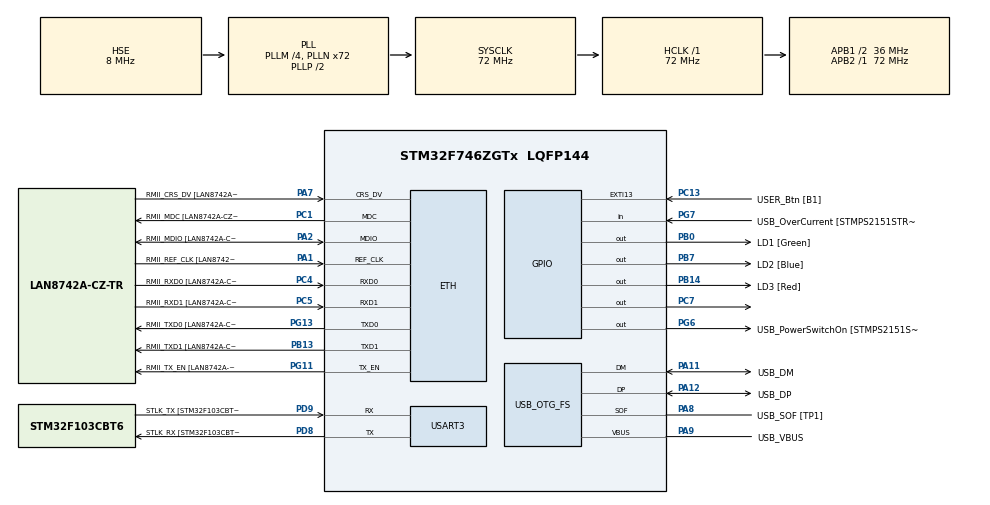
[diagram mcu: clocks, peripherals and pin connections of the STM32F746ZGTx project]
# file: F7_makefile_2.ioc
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ETH.MediaInterface=HAL_ETH_RMII_MODE
ETH.PHY_Name=LAN8742A_PHY_ADDRESS
ETH.PHY_Value=0
ETH.PhyAddress=0
Mcu.Family=STM32F7
Mcu.Name=STM32F746ZGTx
Mcu.Package=LQFP144
NVIC.PriorityGroup=NVIC_PRIORITYGROUP_4
NVIC.TIM2_IRQn=true\:0\:0\:false\:false\:true\:true\:true\:true
PA1.GPIO_Label=RMII_REF_CLK [LAN8742A-CZ-TR_REFCLK0]
PA1.Mode=RMII
PA1.Signal=ETH_REF_CLK
PA10.GPIO_Label=USB_ID
PA10.Signal=USB_OTG_FS_ID
PA11.GPIO_Label=USB_DM
PA11.Mode=Device_Only
PA11.Signal=USB_OTG_FS_DM
PA12.GPIO_Label=USB_DP
PA12.Mode=Device_Only
PA12.Signal=USB_OTG_FS_DP
PA13.GPIO_Label=TMS
PA13.Mode=Serial_Wire
PA13.Signal=SYS_JTMS-SWDIO
PA14.GPIO_Label=TCK
PA14.Mode=Serial_Wire
PA14.Signal=SYS_JTCK-SWCLK
PA2.GPIO_Label=RMII_MDIO [LAN8742A-CZ-TR_MDIO]
PA2.Mode=RMII
PA2.Signal=ETH_MDIO
PA7.GPIO_Label=RMII_CRS_DV [LAN8742A-CZ-TR_CRS_DV]
PA7.Mode=RMII
PA7.Signal=ETH_CRS_DV
PA8.GPIO_Label=USB_SOF [TP1]
PA8.Mode=Activate_SOF_FS
PA8.Signal=USB_OTG_FS_SOF
PA9.GPIO_Label=USB_VBUS
PA9.Mode=Activate_VBUS
PA9.Signal=USB_OTG_FS_VBUS
PB0.GPIO_Label=LD1 [Green]
PB0.Signal=GPIO_Output
PB13.GPIO_Label=RMII_TXD1 [LAN8742A-CZ-TR_TXD1]
PB13.Mode=RMII
PB13.Signal=ETH_TXD1
PB14.GPIO_Label=LD3 [Red]
PB14.Signal=GPIO_Output
PB3.GPIO_Label=SW0
PB3.Signal=SYS_JTDO-SWO
PB7.GPIO_Label=LD2 [Blue]
PB7.Signal=GPIO_Output
PC1.GPIO_Label=RMII_MDC [LAN8742A-CZ-TR_MDC]
PC1.Mode=RMII
PC1.Signal=ETH_MDC
PC13.GPIO_Label=USER_Btn [B1]
PC13.Signal=GPXTI13
PC14/OSC32_IN.Mode=LSE-External-Oscillator
PC14/OSC32_IN.Signal=RCC_OSC32_IN
PC15/OSC32_OUT.Mode=LSE-External-Oscillator
PC15/OSC32_OUT.Signal=RCC_OSC32_OUT
PC4.GPIO_Label=RMII_RXD0 [LAN8742A-CZ-TR_RXD0]
PC4.Mode=RMII
PC4.Signal=ETH_RXD0
PC5.GPIO_Label=RMII_RXD1 [LAN8742A-CZ-TR_RXD1]
PC5.Mode=RMII
PC5.Signal=ETH_RXD1
PC7.Signal=GPIO_Output
PD8.GPIO_Label=STLK_RX [STM32F103CBT6_PA3]
PD8.GPIO_PuPd=GPIO_PULLUP
PD8.Mode=Asynchronous
PD8.Signal=USART3_TX
PD9.GPIO_Label=STLK_TX [STM32F103CBT6_PA2]
PD9.GPIO_PuPd=GPIO_PULLUP
PD9.Mode=Asynchronous
PD9.Signal=USART3_RX
PG11.GPIO_Label=RMII_TX_EN [LAN8742A-CZ-TR_TXEN]
PG11.Mode=RMII
PG11.Signal=ETH_TX_EN
PG13.GPIO_Label=RMII_TXD0 [LAN8742A-CZ-TR_TXD0]
PG13.Mode=RMII
PG13.Signal=ETH_TXD0
PG6.GPIO_Label=USB_PowerSwitchOn [STMPS2151STR_EN]
PG6.Signal=GPIO_Output
PG7.GPIO_Label=USB_OverCurrent [STMPS2151STR_FAULT]
PG7.Signal=GPIO_Input
PH0/OSC_IN.GPIO_Label=MCO [STM32F103CBT6_PA8]
PH0/OSC_IN.Mode=HSE-External-Clock-Source
PH0/OSC_IN.Signal=RCC_OSC_IN
PH1/OSC_OUT.Mode=HSE-External-Clock-Source
PH1/OSC_OUT.Signal=RCC_OSC_OUT
ProjectManager.HeapSize=0x200
ProjectManager.StackSize=0x400
ProjectManager.TargetToolchain=Makefile
RCC.48MHZClocksFreq_Value=24000000
RCC.AHBFreq_Value=72000000
RCC.APB1CLKDivider=RCC_HCLK_DIV2
RCC.APB1Freq_Value=36000000
RCC.APB1TimFreq_Value=72000000
RCC.APB2Freq_Value=72000000
RCC.APB2TimFreq_Value=72000000
RCC.CortexFreq_Value=72000000
RCC.HCLKFreq_Value=72000000
RCC.HSE_VALUE=8000000
RCC.HSI_VALUE=16000000
RCC.PLLM=4
RCC.PLLMUL=RCC_PLL_MUL9
RCC.PLLN=72
RCC.PLLQ=3
RCC.PRESCALERUSB=RCC_USBCLKSOURCE_PLL_DIV1_5
RCC.SYSCLKFreq_VALUE=72000000
RCC.SYSCLKSource=RCC_SYSCLKSOURCE_PLLCLK
RCC.SYSCLKSourceVirtual=RCC_SYSCLKSOURCE_PLLCLK
RCC.USBFreq_Value=48000000
RCC.VCOOutputFreq_Value=144000000
TIM2.Period=1000
TIM2.Prescaler=16000
USART3.VirtualMode-Asynchronous=VM_ASYNC
USB_OTG_FS.VirtualMode=Device_Only
VP_TIM2_VS_ClockSourceINT.Mode=Internal
board=NUCLEO-F746ZG

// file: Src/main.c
/* USER CODE BEGIN Header */
/**
  ******************************************************************************
  * @file           : main.c
  * @brief          : Main program body
  ******************************************************************************
  * @attention
  *
  * Copyright (c) 2024 STMicroelectronics.
  * All rights reserved.
  *
  * This software is licensed under terms that can be found in the LICENSE file
  * in the root directory of this software component.
  * If no LICENSE file comes with this software, it is provided AS-IS.
  *
  ******************************************************************************
  */
/* USER CODE END Header */
#include "main.h"
#include "string.h"

/* USER CODE BEGIN Includes */

#include <stdio.h>
#include <stdint.h>

#include "dnn/include/forward.hpp"

/* USER CODE END Includes */

#if defined ( __ICCARM__ ) /*!< IAR Compiler */
#pragma location=0x2004c000
ETH_DMADescTypeDef  DMARxDscrTab[ETH_RX_DESC_CNT]; /* Ethernet Rx DMA Descriptors */
#pragma location=0x2004c0a0
ETH_DMADescTypeDef  DMATxDscrTab[ETH_TX_DESC_CNT]; /* Ethernet Tx DMA Descriptors */

#elif defined ( __CC_ARM )  /* MDK ARM Compiler */

__attribute__((at(0x2004c000))) ETH_DMADescTypeDef  DMARxDscrTab[ETH_RX_DESC_CNT]; /* Ethernet Rx DMA Descriptors */
__attribute__((at(0x2004c0a0))) ETH_DMADescTypeDef  DMATxDscrTab[ETH_TX_DESC_CNT]; /* Ethernet Tx DMA Descriptors */

#elif defined ( __GNUC__ ) /* GNU Compiler */

ETH_DMADescTypeDef DMARxDscrTab[ETH_RX_DESC_CNT] __attribute__((section(".RxDecripSection"))); /* Ethernet Rx DMA Descriptors */
ETH_DMADescTypeDef DMATxDscrTab[ETH_TX_DESC_CNT] __attribute__((section(".TxDecripSection")));   /* Ethernet Tx DMA Descriptors */
#endif

ETH_TxPacketConfig TxConfig;

ETH_HandleTypeDef heth;

TIM_HandleTypeDef htim2;

UART_HandleTypeDef huart3;

PCD_HandleTypeDef hpcd_USB_OTG_FS;

void SystemClock_Config(void);
static void MX_GPIO_Init(void);
static void MX_ETH_Init(void);
static void MX_TIM2_Init(void);
static void MX_USART3_UART_Init(void);
static void MX_USB_OTG_FS_PCD_Init(void);

/* USER CODE BEGIN 0 */

int _write(int file, char *data, int len)
{
   HAL_StatusTypeDef status = HAL_UART_Transmit(&huart3, (uint8_t*) data, len, 1000);

   return (status == HAL_OK ? len : 0);
}

/* USER CODE END 0 */

int main(void)
{

  /* MCU Configuration--------------------------------------------------------*/

  /* Reset of all peripherals, Initializes the Flash interface and the Systick. */
  HAL_Init();

  /* Configure the system clock */
  SystemClock_Config();

  /* Initialize all configured peripherals */
  MX_GPIO_Init();
  MX_ETH_Init();
  MX_TIM2_Init();
  MX_USART3_UART_Init();
  MX_USB_OTG_FS_PCD_Init();
  /* USER CODE BEGIN 2 */

  printf("\r\n");
  printf("*****************************************************\r\n");
  printf("****************** DEMO EXPORT CPP ******************\r\n");
  printf("*****************************************************\r\n");
  printf("\r\n");

  printf("\r\n");
  printf("*****************************************************\r\n");
  printf("********************** END DEMO *********************\r\n");
  printf("*****************************************************\r\n");
  printf("\r\n");

  /* USER CODE END 2 */

  /* Infinite loop */
  while (1)
  {

  }
}

void SystemClock_Config(void)
{
  RCC_OscInitTypeDef RCC_OscInitStruct = {0};
  RCC_ClkInitTypeDef RCC_ClkInitStruct = {0};

  /** Configure LSE Drive Capability
  */
  HAL_PWR_EnableBkUpAccess();

  /** Configure the main internal regulator output voltage
  */
  __HAL_RCC_PWR_CLK_ENABLE();
  __HAL_PWR_VOLTAGESCALING_CONFIG(PWR_REGULATOR_VOLTAGE_SCALE3);

  /** Initializes the RCC Oscillators according to the specified parameters
  * in the RCC_OscInitTypeDef structure.
  */
  RCC_OscInitStruct.OscillatorType = RCC_OSCILLATORTYPE_HSE;
  RCC_OscInitStruct.HSEState = RCC_HSE_BYPASS;
  RCC_OscInitStruct.PLL.PLLState = RCC_PLL_ON;
  RCC_OscInitStruct.PLL.PLLSource = RCC_PLLSOURCE_HSE;
  RCC_OscInitStruct.PLL.PLLM = 4;
  RCC_OscInitStruct.PLL.PLLN = 72;
  RCC_OscInitStruct.PLL.PLLP = RCC_PLLP_DIV2;
  RCC_OscInitStruct.PLL.PLLQ = 3;
  if (HAL_RCC_OscConfig(&RCC_OscInitStruct) != HAL_OK)
  {
    Error_Handler();
  }

  /** Initializes the CPU, AHB and APB buses clocks
  */
  RCC_ClkInitStruct.ClockType = RCC_CLOCKTYPE_HCLK|RCC_CLOCKTYPE_SYSCLK
                              |RCC_CLOCKTYPE_PCLK1|RCC_CLOCKTYPE_PCLK2;
  RCC_ClkInitStruct.SYSCLKSource = RCC_SYSCLKSOURCE_PLLCLK;
  RCC_ClkInitStruct.AHBCLKDivider = RCC_SYSCLK_DIV1;
  RCC_ClkInitStruct.APB1CLKDivider = RCC_HCLK_DIV2;
  RCC_ClkInitStruct.APB2CLKDivider = RCC_HCLK_DIV1;

  if (HAL_RCC_ClockConfig(&RCC_ClkInitStruct, FLASH_LATENCY_2) != HAL_OK)
  {
    Error_Handler();
  }
}

static void MX_ETH_Init(void)
{

   static uint8_t MACAddr[6];

  heth.Instance = ETH;
  MACAddr[0] = 0x00;
  MACAddr[1] = 0x80;
  MACAddr[2] = 0xE1;
  MACAddr[3] = 0x00;
  MACAddr[4] = 0x00;
  MACAddr[5] = 0x00;
  heth.Init.MACAddr = &MACAddr[0];
  heth.Init.MediaInterface = HAL_ETH_RMII_MODE;
  heth.Init.TxDesc = DMATxDscrTab;
  heth.Init.RxDesc = DMARxDscrTab;
  heth.Init.RxBuffLen = 1524;

  if (HAL_ETH_Init(&heth) != HAL_OK)
  {
    Error_Handler();
  }

  memset(&TxConfig, 0 , sizeof(ETH_TxPacketConfig));
  TxConfig.Attributes = ETH_TX_PACKETS_FEATURES_CSUM | ETH_TX_PACKETS_FEATURES_CRCPAD;
  TxConfig.ChecksumCtrl = ETH_CHECKSUM_IPHDR_PAYLOAD_INSERT_PHDR_CALC;
  TxConfig.CRCPadCtrl = ETH_CRC_PAD_INSERT;

}

static void MX_TIM2_Init(void)
{

  TIM_ClockConfigTypeDef sClockSourceConfig = {0};
  TIM_MasterConfigTypeDef sMasterConfig = {0};

  htim2.Instance = TIM2;
  htim2.Init.Prescaler = 16000;
  htim2.Init.CounterMode = TIM_COUNTERMODE_UP;
  htim2.Init.Period = 1000;
  htim2.Init.ClockDivision = TIM_CLOCKDIVISION_DIV1;
  htim2.Init.AutoReloadPreload = TIM_AUTORELOAD_PRELOAD_DISABLE;
  if (HAL_TIM_Base_Init(&htim2) != HAL_OK)
  {
    Error_Handler();
  }
  sClockSourceConfig.ClockSource = TIM_CLOCKSOURCE_INTERNAL;
  if (HAL_TIM_ConfigClockSource(&htim2, &sClockSourceConfig) != HAL_OK)
  {
    Error_Handler();
  }
  sMasterConfig.MasterOutputTrigger = TIM_TRGO_RESET;
  sMasterConfig.MasterSlaveMode = TIM_MASTERSLAVEMODE_DISABLE;
  if (HAL_TIMEx_MasterConfigSynchronization(&htim2, &sMasterConfig) != HAL_OK)
  {
    Error_Handler();
  }

}

static void MX_USART3_UART_Init(void)
{

  huart3.Instance = USART3;
  huart3.Init.BaudRate = 115200;
  huart3.Init.WordLength = UART_WORDLENGTH_8B;
  huart3.Init.StopBits = UART_STOPBITS_1;
  huart3.Init.Parity = UART_PARITY_NONE;
  huart3.Init.Mode = UART_MODE_TX_RX;
  huart3.Init.HwFlowCtl = UART_HWCONTROL_NONE;
  huart3.Init.OverSampling = UART_OVERSAMPLING_16;
  huart3.Init.OneBitSampling = UART_ONE_BIT_SAMPLE_DISABLE;
  huart3.AdvancedInit.AdvFeatureInit = UART_ADVFEATURE_NO_INIT;
  if (HAL_UART_Init(&huart3) != HAL_OK)
  {
    Error_Handler();
  }

}

static void MX_USB_OTG_FS_PCD_Init(void)
{

  hpcd_USB_OTG_FS.Instance = USB_OTG_FS;
  hpcd_USB_OTG_FS.Init.dev_endpoints = 6;
  hpcd_USB_OTG_FS.Init.speed = PCD_SPEED_FULL;
  hpcd_USB_OTG_FS.Init.dma_enable = DISABLE;
  hpcd_USB_OTG_FS.Init.phy_itface = PCD_PHY_EMBEDDED;
  hpcd_USB_OTG_FS.Init.Sof_enable = ENABLE;
  hpcd_USB_OTG_FS.Init.low_power_enable = DISABLE;
  hpcd_USB_OTG_FS.Init.lpm_enable = DISABLE;
  hpcd_USB_OTG_FS.Init.vbus_sensing_enable = ENABLE;
  hpcd_USB_OTG_FS.Init.use_dedicated_ep1 = DISABLE;
  if (HAL_PCD_Init(&hpcd_USB_OTG_FS) != HAL_OK)
  {
    Error_Handler();
  }

}

static void MX_GPIO_Init(void)
{
  GPIO_InitTypeDef GPIO_InitStruct = {0};

  /* GPIO Ports Clock Enable */
  __HAL_RCC_GPIOC_CLK_ENABLE();
  __HAL_RCC_GPIOH_CLK_ENABLE();
  __HAL_RCC_GPIOA_CLK_ENABLE();
  __HAL_RCC_GPIOB_CLK_ENABLE();
  __HAL_RCC_GPIOD_CLK_ENABLE();
  __HAL_RCC_GPIOG_CLK_ENABLE();

  /*Configure GPIO pin Output Level */
  HAL_GPIO_WritePin(GPIOB, LD1_Pin|LD3_Pin|LD2_Pin, GPIO_PIN_RESET);

  /*Configure GPIO pin Output Level */
  HAL_GPIO_WritePin(USB_PowerSwitchOn_GPIO_Port, USB_PowerSwitchOn_Pin, GPIO_PIN_RESET);

  /*Configure GPIO pin Output Level */
  HAL_GPIO_WritePin(GPIOC, GPIO_PIN_7, GPIO_PIN_RESET);

  /*Configure GPIO pin : USER_Btn_Pin */
  GPIO_InitStruct.Pin = USER_Btn_Pin;
  GPIO_InitStruct.Mode = GPIO_MODE_IT_RISING;
  GPIO_InitStruct.Pull = GPIO_NOPULL;
  HAL_GPIO_Init(USER_Btn_GPIO_Port, &GPIO_InitStruct);

  /*Configure GPIO pins : LD1_Pin LD3_Pin LD2_Pin */
  GPIO_InitStruct.Pin = LD1_Pin|LD3_Pin|LD2_Pin;
  GPIO_InitStruct.Mode = GPIO_MODE_OUTPUT_PP;
  GPIO_InitStruct.Pull = GPIO_NOPULL;
  GPIO_InitStruct.Speed = GPIO_SPEED_FREQ_LOW;
  HAL_GPIO_Init(GPIOB, &GPIO_InitStruct);

  /*Configure GPIO pin : USB_PowerSwitchOn_Pin */
  GPIO_InitStruct.Pin = USB_PowerSwitchOn_Pin;
  GPIO_InitStruct.Mode = GPIO_MODE_OUTPUT_PP;
  GPIO_InitStruct.Pull = GPIO_NOPULL;
  GPIO_InitStruct.Speed = GPIO_SPEED_FREQ_LOW;
  HAL_GPIO_Init(USB_PowerSwitchOn_GPIO_Port, &GPIO_InitStruct);

  /*Configure GPIO pin : USB_OverCurrent_Pin */
  GPIO_InitStruct.Pin = USB_OverCurrent_Pin;
  GPIO_InitStruct.Mode = GPIO_MODE_INPUT;
  GPIO_InitStruct.Pull = GPIO_NOPULL;
  HAL_GPIO_Init(USB_OverCurrent_GPIO_Port, &GPIO_InitStruct);

  /*Configure GPIO pin : PC7 */
  GPIO_InitStruct.Pin = GPIO_PIN_7;
  GPIO_InitStruct.Mode = GPIO_MODE_OUTPUT_PP;
  GPIO_InitStruct.Pull = GPIO_NOPULL;
  GPIO_InitStruct.Speed = GPIO_SPEED_FREQ_LOW;
  HAL_GPIO_Init(GPIOC, &GPIO_InitStruct);

}

void Error_Handler(void)
{
  __disable_irq();
  while (1)
  {
  }
}
